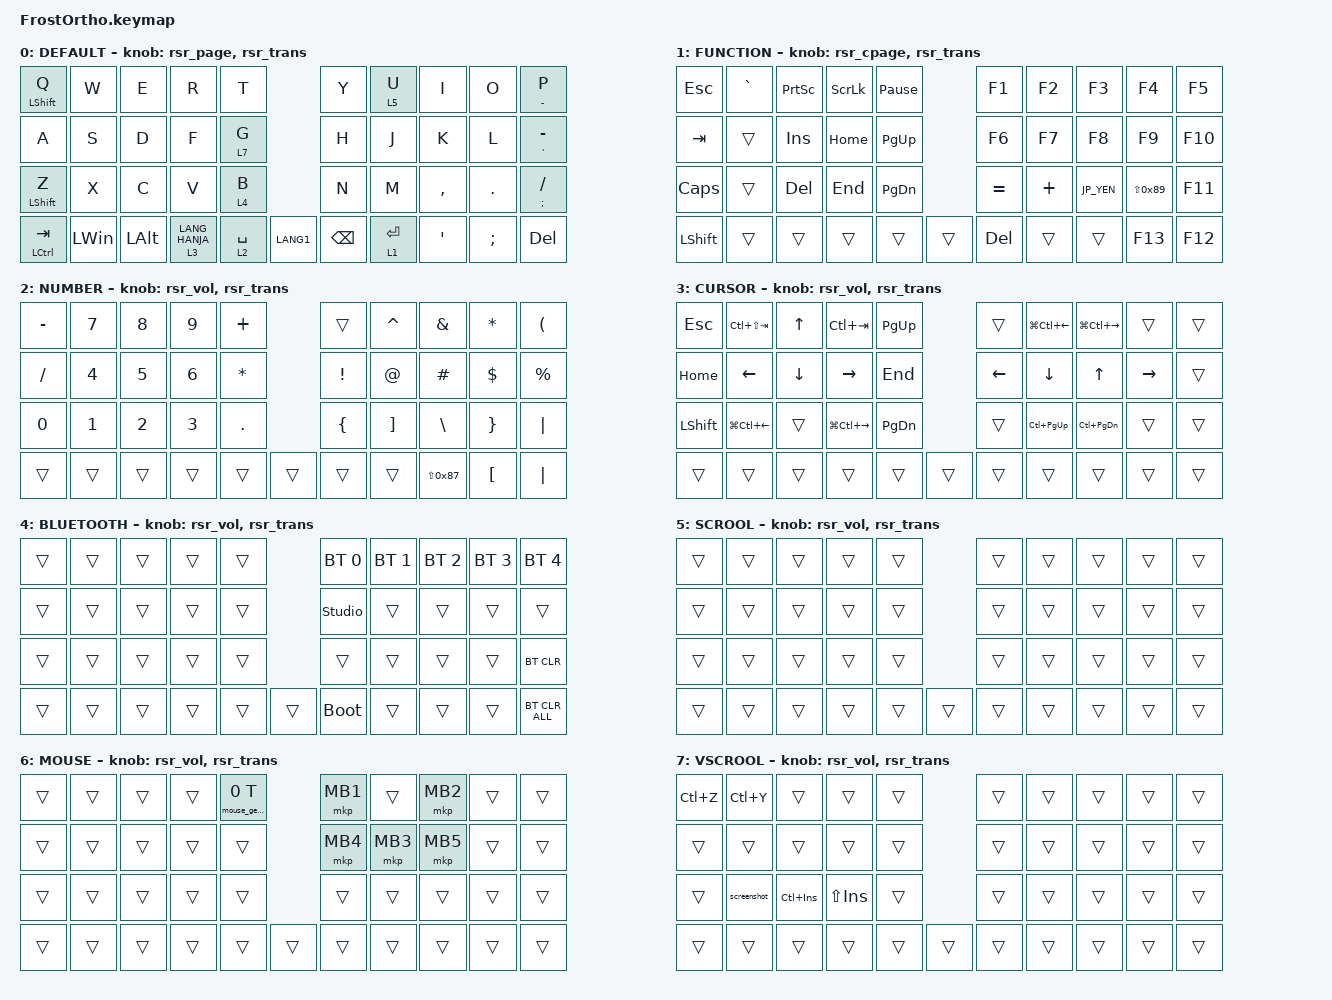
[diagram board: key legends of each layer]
#include <input/processors.dtsi>
#include <behaviors/runtime-sensor-rotate.dtsi>
#include <behaviors.dtsi>
#include <dt-bindings/zmk/bt.h>
#include <dt-bindings/zmk/keys.h>
#include <dt-bindings/zmk/pointing.h>
#include <behaviors/runtime-sensor-rotate.dtsi>
#include <mouse-gesture.dtsi>
//#include "jp_keycodes.h"

// OS設定を日本語キーボードのまま使用するための変換定義

#define JP_DQUOTE       AT                // "
#define JP_AMPERSAND    CARET             // &
#define JP_QUOTE        AMPERSAND         // '
#define JP_EQUAL        UNDER             // =
#define JP_CARET        EQUAL             // ^
#define JP_YEN          0x89              // ¥
#define JP_PLUS         COLON             // +
#define JP_TILDE        PLUS              // ~
#define JP_PIPE         LS(0x89)          // |
#define JP_AT           LEFT_BRACKET      // @
#define JP_COLON        SINGLE_QUOTE      // :
#define JP_ASTERISK     DOUBLE_QUOTES     // *
#define JP_BACKQUOTE    LEFT_BRACE        // `
#define JP_UNDERSCORE   LS(0x87)          // _
#define JP_LBRACKET     RIGHT_BRACKET     // [
#define JP_RBRACKET     BACKSLASH         // ]
#define JP_LPAREN       ASTERISK          // (
#define JP_RPAREN       LEFT_PARENTHESIS  // )
#define JP_LBRACE       RIGHT_BRACE       // {
#define JP_RBRACE       PIPE              // }
#define JP_KANA         LANGUAGE_1        // かな
#define JP_EISU         LANGUAGE_2        // 英数
#define JP_HANZEN       GRAVE             // 半角/全角

#define MOUSE 6

&mt {
    flavor = "balanced";
    quick-tap-ms = <0>;
};

// マウスジェスチャー（AMLのUキーを長押ししながらボールを動かす）
&zip_mouse_gesture {
    stroke-size = <50>; // 1ストロークと判定する移動量
    enable-eager-mode;
    suppress-movement; // ジェスチャー中はカーソルを動かさない

    history_back {
        pattern = <GESTURE_LEFT>;
        bindings = <&kp LG(LC(LEFT_ARROW))>; // 仮想デスクトップ左
    };
    history_forward {
        pattern = <GESTURE_RIGHT>;
        bindings = <&kp LG(LC(RIGHT_ARROW))>; // 仮想デスクトップ右
    };
    prev_tab {
        pattern = <GESTURE_UP>;
        bindings = <&kp LC(TAB)>; // 次のタブ
    };
    next_tab {
        pattern = <GESTURE_DOWN>;
        bindings = <&kp LC(LS(TAB))>; // 前のタブ
    };
};

/ {
    combos {
        compatible = "zmk,combos";

        tab {
            bindings = <&kp TAB>;
            key-positions = <11 12>;
        };

        shift_tab {
            bindings = <&kp LS(TAB)>;
            key-positions = <12 13>;
        };
    };

    macros {
        to_layer_0: to_layer_0 {
            compatible = "zmk,behavior-macro-one-param";
            #binding-cells = <1>;
            bindings = <&to 0 &macro_param_1to1 &kp MACRO_PLACEHOLDER>;
            label = "TO_LAYER_0";
        };

        screenshot: screenshot {
            compatible = "zmk,behavior-macro";
            #binding-cells = <0>;
            bindings =
                <&to 7>,
                <&macro_press>,
                <&kp LEFT_WIN &kp LEFT_SHIFT &kp S>,
                <&macro_release>,
                <&kp LEFT_WIN &kp LEFT_SHIFT &kp S>;

            label = "SCREENSHOT";
        };
    };

    behaviors {
        lt_to_layer_0: lt_to_layer_0 {
            compatible = "zmk,behavior-hold-tap";
            label = "LAYER_TAP_TO_0";
            bindings = <&mo>, <&to_layer_0>;

            #binding-cells = <2>;
            tapping-term-ms = <300>;
        };

        // Kyemap Editor用

        scroll_up_down: behavior_sensor_rotate_mouse_wheel_up_down {
            compatible = "zmk,behavior-sensor-rotate";
            #sensor-binding-cells = <0>;
            tap-ms = <20>;
            bindings = <&msc SCRL_UP>, <&msc SCRL_DOWN>;
        };

        vol_up_down: vol_up_down {
            compatible = "zmk,behavior-sensor-rotate";
            #sensor-binding-cells = <0>;
            tap-ms = <5>;
            bindings = <&kp C_VOL_DN>, <&kp C_VOL_UP>;
        };

        // DYA Studio用

        rsr_vol: rsr_vol {
            compatible = "zmk,behavior-runtime-sensor-rotate";
            #sensor-binding-cells = <0>;
            tap-ms = <5>;
            cw-binding = <&kp C_VOL_DN>;
            ccw-binding = <&kp C_VOL_UP>;
        };

        rsr_page: rsr_page {
            compatible = "zmk,behavior-runtime-sensor-rotate";
            #sensor-binding-cells = <0>;
            tap-ms = <5>;
            cw-binding = <&kp PAGE_DOWN>;
            ccw-binding = <&kp PAGE_UP>;
        };

        rsr_cpage: rsr_cpage {
            compatible = "zmk,behavior-runtime-sensor-rotate";
            #sensor-binding-cells = <0>;
            tap-ms = <5>;
            cw-binding = <&kp LC(PAGE_DOWN)>;
            ccw-binding = <&kp LC(PAGE_UP)>;
        };
    };

    keymap {
        compatible = "zmk,keymap";

        default_layer {
            display-name = "DEFAULT";
            bindings = <
&mt LEFT_SHIFT Q      &kp W         &kp E         &kp R             &kp T                       &kp Y          &lt 5 U      &kp I         &kp O          &mt MINUS P
&kp A                 &kp S         &kp D         &kp F             &lt 7 G                     &kp H          &kp J        &kp K         &kp L          &mt JP_COLON MINUS
&mt LEFT_SHIFT Z      &kp X         &kp C         &kp V             &lt 4 B                     &kp N          &kp M        &kp COMMA     &kp DOT        &mt SEMICOLON SLASH
&mt LEFT_CONTROL TAB  &kp LEFT_WIN  &kp LEFT_ALT  &lt 3 LANG_HANJA  &lt 2 SPACE  &kp LANG1      &kp BACKSPACE  &lt 1 ENTER  &kp JP_COLON  &kp SEMICOLON  &kp DEL
            >;

            sensor-bindings = <&rsr_page &rsr_trans>;
        };

        function_layer {
            display-name = "FUNCTION";
            bindings = <
&kp ESCAPE      &kp JP_HANZEN  &kp PRINTSCREEN  &kp SCROLLLOCK  &kp PAUSE_BREAK              &kp F1        &kp F2        &kp F3      &kp F4       &kp F5
&kp TAB         &trans         &kp INSERT       &kp HOME        &kp PAGE_UP                  &kp F6        &kp F7        &kp F8      &kp F9       &kp F10
&kp CAPS        &trans         &kp DELETE       &kp END         &kp PAGE_DOWN                &kp JP_CARET  &kp JP_TILDE  &kp JP_YEN  &kp JP_PIPE  &kp F11
&kp LEFT_SHIFT  &trans         &trans           &trans          &trans           &trans      &kp DEL       &trans        &trans      &kp F13      &kp F12
            >;

            sensor-bindings = <&rsr_cpage &rsr_trans>;
        };

        number_layer {
            display-name = "NUMBER";
            bindings = <
&kp MINUS     &kp NUMBER_7  &kp NUMBER_8  &kp NUMBER_9  &kp PLUS                  &trans            &kp CARET        &kp JP_QUOTE       &kp JP_LPAREN  &kp JP_RPAREN
&kp SLASH     &kp NUMBER_4  &kp NUMBER_5  &kp NUMBER_6  &kp ASTERISK              &kp EXCLAMATION   &kp AT_SIGN      &kp HASH           &kp DOLLAR     &kp PERCENT
&kp NUMBER_0  &kp NUMBER_1  &kp NUMBER_2  &kp NUMBER_3  &kp PERIOD                &kp JP_BACKQUOTE  &kp JP_LBRACKET  &kp JP_RBRACKET    &kp JP_LBRACE  &kp JP_RBRACE
&trans        &trans        &trans        &trans        &trans        &trans      &trans            &trans           &kp JP_UNDERSCORE  &kp JP_AT      &kp PIPE
            >;

            sensor-bindings = <&rsr_vol &rsr_trans>;
        };

        cursor_layer {
            display-name = "CURSOR";
            bindings = <
&kp ESCAPE      &kp LC(LS(TAB))         &kp UP_ARROW    &kp LC(TAB)              &kp PAGE_UP                &trans          &kp LG(LC(LEFT_ARROW))  &kp LG(LC(RIGHT_ARROW))  &trans           &trans
&kp HOME        &kp LEFT_ARROW          &kp DOWN_ARROW  &kp RIGHT_ARROW          &kp END                    &kp LEFT_ARROW  &kp DOWN_ARROW          &kp UP_ARROW             &kp RIGHT_ARROW  &trans
&kp LEFT_SHIFT  &kp LG(LC(LEFT_ARROW))  &trans          &kp LG(LC(RIGHT_ARROW))  &kp PAGE_DOWN              &trans          &kp LC(PAGE_UP)         &kp LC(PG_DN)            &trans           &trans
&trans          &trans                  &trans          &trans                   &trans         &trans      &trans          &trans                  &trans                   &trans           &trans
            >;

            sensor-bindings = <&rsr_vol &rsr_trans>;
        };

        bluetooth_layer {
            display-name = "BLUETOOTH";
            bindings = <
&trans  &trans  &trans  &trans  &trans              &bt BT_SEL 0    &bt BT_SEL 1  &bt BT_SEL 2  &bt BT_SEL 3  &bt BT_SEL 4
&trans  &trans  &trans  &trans  &trans              &studio_unlock  &trans        &trans        &trans        &trans
&trans  &trans  &trans  &trans  &trans              &trans          &trans        &trans        &trans        &bt BT_CLR
&trans  &trans  &trans  &trans  &trans  &trans      &bootloader     &trans        &trans        &trans        &bt BT_CLR_ALL
            >;

            sensor-bindings = <&rsr_vol &rsr_trans>;
        };

        scrool_layer {
            display-name = "SCROOL";
            bindings = <
&trans  &trans  &trans  &trans  &trans              &trans  &trans  &trans  &trans  &trans
&trans  &trans  &trans  &trans  &trans              &trans  &trans  &trans  &trans  &trans
&trans  &trans  &trans  &trans  &trans              &trans  &trans  &trans  &trans  &trans
&trans  &trans  &trans  &trans  &trans  &trans      &trans  &trans  &trans  &trans  &trans
            >;

            sensor-bindings = <&rsr_vol &rsr_trans>;
        };

        MOUSE {
            display-name = "MOUSE";
            bindings = <
&trans  &trans  &trans  &trans  &mouse_gesture_kp 0 T          &mkp MB1  &trans   &mkp MB2  &trans    &trans
&trans  &trans  &trans  &trans  &trans                         &mkp MB4  &mkp MB3 &mkp MB5  &trans    &trans
&trans  &trans  &trans  &trans  &trans                         &trans    &trans   &trans    &trans    &trans
&trans  &trans  &trans  &trans  &trans                &trans   &trans    &trans   &trans    &trans    &trans
            >;

            sensor-bindings = <&rsr_vol &rsr_trans>;
        };

        vscrool_layer {
            display-name = "VSCROOL";
            bindings = <
&kp LC(Z)  &kp LC(Y)    &trans       &trans       &trans              &trans  &trans  &trans  &trans  &trans
&trans     &trans       &trans       &trans       &trans              &trans  &trans  &trans  &trans  &trans
&trans     &screenshot  &kp LC(INS)  &kp LS(INS)  &trans              &trans  &trans  &trans  &trans  &trans
&trans     &trans       &trans       &trans       &trans  &trans      &trans  &trans  &trans  &trans  &trans
            >;

            sensor-bindings = <&rsr_vol &rsr_trans>;
        };
    };
};
